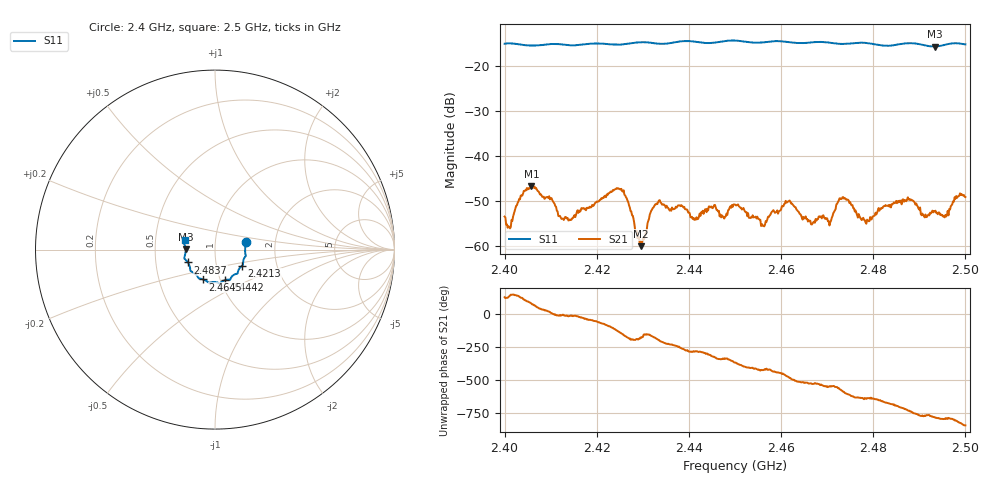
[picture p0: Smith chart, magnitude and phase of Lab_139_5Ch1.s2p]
# Hz S RI R 50
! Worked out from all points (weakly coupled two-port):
!   601 points, 2.4 GHz to 2.5 GHz, reference 50 ohm
!   highest |S21| = -46.70 dB at 2.4058 GHz (marker M1); lowest = -59.9 dB at 2.4297 GHz (marker M2)
!   lowest |S11| = -15.7 dB at 2.4933 GHz (marker M3), VSWR 1.39, Z = 35.9 + j0.101 ohm
!   |S11| at or under -10 dB: start of sweep to end of sweep
!   S12 and S22 are empty: the file has one direction only
!   S11 on the Smith chart (normalised r, x): 2.4 GHz: 1.41, +0.12; 2.4213 GHz: 1.33, -0.25; 2.4442 GHz: 1.05, -0.37; 2.4645 GHz: 0.83, -0.29; 2.4837 GHz: 0.73, -0.11; 2.5 GHz: 0.71, +0.07
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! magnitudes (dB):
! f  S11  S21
! 2.4 GHz  -15.1  -53.4
! 2.4012 GHz  -15.0  -56.0
! 2.4058 GHz  -15.5  -46.7
! 2.4123 GHz  -15.2  -53.9
! 2.4167 GHz  -15.3  -51.5
! 2.4213 GHz  -15.1  -49.2
! 2.4255 GHz  -15.3  -47.7
! 2.4297 GHz  -14.8  -59.9
! 2.4333 GHz  -15.1  -50.1
! 2.4442 GHz  -15.0  -52.0
! 2.45 GHz  -14.4  -50.7
! 2.4562 GHz  -14.8  -55.4
! 2.4615 GHz  -14.7  -50.0
! 2.4645 GHz  -15.0  -53.5
! 2.4667 GHz  -14.8  -55.1
! 2.4707 GHz  -14.9  -54.6
! 2.4732 GHz  -15.1  -49.4
! 2.4787 GHz  -15.0  -54.1
! 2.4833 GHz  -15.6  -50.8
! 2.4837 GHz  -15.5  -50.8
! 2.4933 GHz  -15.7  -52.3
! 2.5 GHz  -15.3  -49.1
